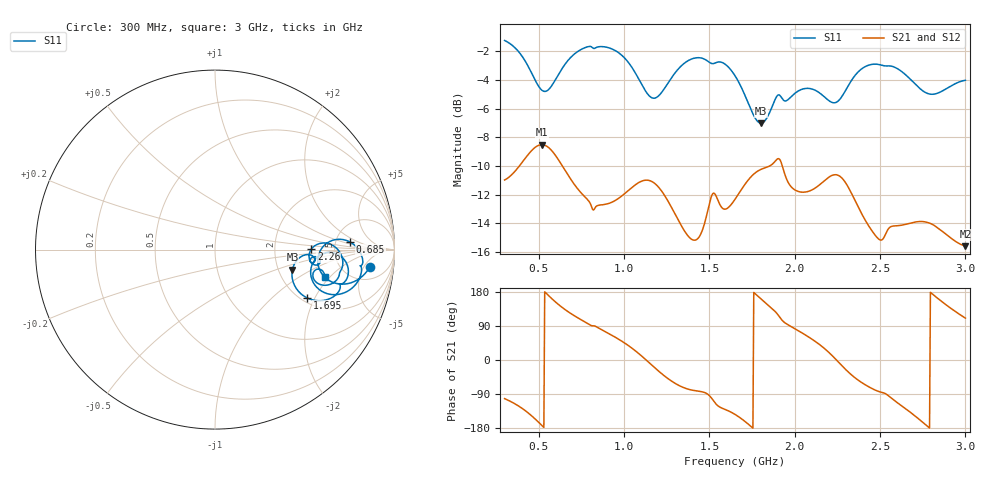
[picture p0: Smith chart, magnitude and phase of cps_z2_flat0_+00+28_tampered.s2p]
! cps_z2_flat0_+00+28_tampered
! simulated by sim/fixtures_fdtd.py (S12 = S21, S22 not computed)
# HZ S RI R 50
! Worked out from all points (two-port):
!   541 points, 300 MHz to 3 GHz, reference 50 ohm
!   highest |S21| = -8.52 dB at 520 MHz (marker M1); lowest = -15.6 dB at 3 GHz (marker M2)
!   |S21| within 3 dB of the highest: start of sweep to 722.7 MHz; 1.695 GHz to 1.984 GHz (288.9 MHz wide, 15.7 % of centre) (the widest 2 of 4)
!   lowest |S11| = -7.0 dB at 1.8 GHz (marker M3), VSWR 2.61, Z = 119 - j33.1 ohm
!   |S11| at or under -10 dB: nowhere
!   |S22| runs from - to - dB; largest |S21 - S12| = 0
!   S11 on the Smith chart (normalised r, x): 300 MHz: 9, -7; 685 MHz: 6.86, +1.34; 1.695 GHz: 2.15, -1.75; 2.26 GHz: 3.32, +0.02; 3 GHz: 3.46, -1.74
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3e8  0.8613 -0.0988  -0.0582 -0.2762  -0.0582 -0.2762  0 0
4.25e8  0.7013 -0.1923  -0.2393 -0.2395  -0.2393 -0.2395  0 0
5.2e8  0.5742 -0.0824  -0.3725 -0.0427  -0.3725 -0.0427  0 0
6.05e8  0.6415 0.0463  -0.2952 0.1673  -0.2952 0.1673  0 0
6.85e8  0.7526 0.0422  -0.1576 0.2381  -0.1576 0.2381  0 0
7.5e8  0.8071 -0.0125  -0.0692 0.2443  -0.0692 0.2443  0 0
9e8  0.8044 -0.1613  0.0709 0.2218  0.0709 0.2218  0 0
1.03e9  0.6751 -0.2509  0.2096 0.1553  0.2096 0.1553  0 0
1.2e9  0.5495 -0.0669  0.2351 -0.1273  0.2351 -0.1273  0 0
1.29e9  0.6572 -0.0182  0.1127 -0.1885  0.1127 -0.1885  0 0
1.41e9  0.7429 -0.1137  0.0287 -0.1716  0.0287 -0.1716  0 0
1.52e9  0.6934 -0.1919  -0.0664 -0.2441  -0.0664 -0.2441  0 0
1.65e9  0.5877 -0.2847  -0.1944 -0.1435  -0.1944 -0.1435  0 0
1.695e9  0.5145 -0.2697  -0.2452 -0.1017  -0.2452 -0.1017  0 0
1.8e9  0.4317 -0.111  -0.2922 0.0942  -0.2922 0.0942  0 0
1.915e9  0.5511 -0.0713  -0.1193 0.3087  -0.1193 0.3087  0 0
2.1e9  0.5817 -0.0782  0.1485 0.214  0.1485 0.214  0 0
2.26e9  0.5365 0.00195  0.2897 -0.037  0.2897 -0.037  0 0
2.355e9  0.6558 0.0236  0.1608 -0.1758  0.1608 -0.1758  0 0
2.55e9  0.6927 -0.1401  -0.0156 -0.1904  -0.0156 -0.1904  0 0
2.77e9  0.5471 -0.156  -0.1993 -0.0283  -0.1993 -0.0283  0 0
3e9  0.611 -0.1518  -0.0578 0.1554  -0.0578 0.1554  0 0
